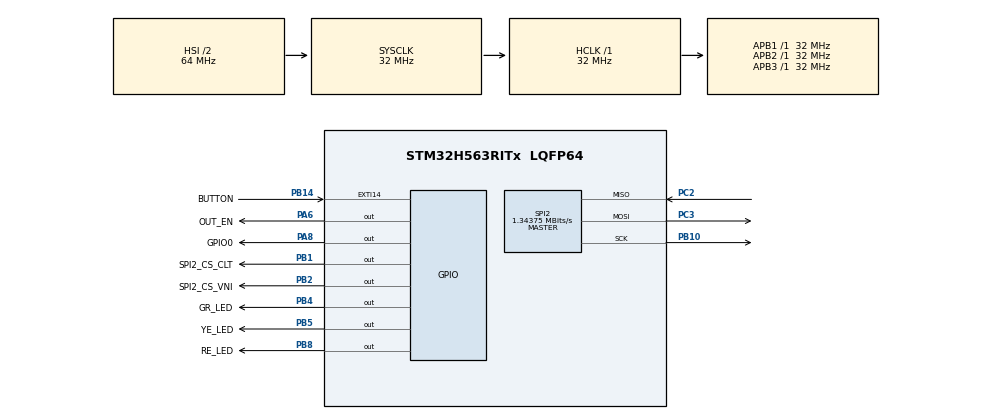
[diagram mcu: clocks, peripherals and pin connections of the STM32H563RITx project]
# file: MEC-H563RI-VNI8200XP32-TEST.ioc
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BOOTPATH.BootPathName=LEGACY
BOOTPATH.UserSelectedBootPath=LEGACY
CORTEX_M33_NS.userName=CORTEX_M33
Mcu.Family=STM32H5
Mcu.Name=STM32H563RITx
Mcu.Package=LQFP64
NVIC.PriorityGroup=NVIC_PRIORITYGROUP_4
PA13(JTMS/SWDIO).Mode=Trace_Asynchronous_SW
PA13(JTMS/SWDIO).Signal=DEBUG_JTMS-SWDIO
PA14(JTCK/SWCLK).Mode=Trace_Asynchronous_SW
PA14(JTCK/SWCLK).Signal=DEBUG_JTCK-SWCLK
PA6.GPIO_Label=OUT_EN
PA6.Signal=GPIO_Output
PA8.GPIO_Label=GPIO0
PA8.Signal=GPIO_Output
PB1.GPIO_Label=SPI2_CS_CLT
PB1.PinState=GPIO_PIN_SET
PB1.Signal=GPIO_Output
PB10.Mode=Full_Duplex_Master
PB10.Signal=SPI2_SCK
PB14.GPIO_Label=BUTTON
PB14.Signal=GPXTI14
PB2.GPIO_Label=SPI2_CS_VNI
PB2.PinState=GPIO_PIN_SET
PB2.Signal=GPIO_Output
PB3(JTDO/TRACESWO).Mode=Trace_Asynchronous_SW
PB3(JTDO/TRACESWO).Signal=DEBUG_JTDO-SWO
PB4(NJTRST).GPIO_Label=GR_LED
PB4(NJTRST).GPIO_ModeDefaultOutputPP=GPIO_MODE_OUTPUT_OD
PB4(NJTRST).GPIO_PuPd=GPIO_NOPULL
PB4(NJTRST).PinState=GPIO_PIN_SET
PB4(NJTRST).Signal=GPIO_Output
PB5.GPIO_Label=YE_LED
PB5.GPIO_ModeDefaultOutputPP=GPIO_MODE_OUTPUT_OD
PB5.GPIO_PuPd=GPIO_NOPULL
PB5.PinState=GPIO_PIN_SET
PB5.Signal=GPIO_Output
PB8.GPIO_Label=RE_LED
PB8.GPIO_ModeDefaultOutputPP=GPIO_MODE_OUTPUT_OD
PB8.GPIO_PuPd=GPIO_NOPULL
PB8.PinState=GPIO_PIN_SET
PB8.Signal=GPIO_Output
PC2.Mode=Full_Duplex_Master
PC2.Signal=SPI2_MISO
PC3.Mode=Full_Duplex_Master
PC3.Signal=SPI2_MOSI
PH0-OSC_IN(PH0).Mode=HSE-External-Oscillator
PH0-OSC_IN(PH0).Signal=RCC_OSC_IN
PH1-OSC_OUT(PH1).Mode=HSE-External-Oscillator
PH1-OSC_OUT(PH1).Signal=RCC_OSC_OUT
ProjectManager.HeapSize=0x200
ProjectManager.StackSize=0x400
ProjectManager.TargetToolchain=STM32CubeIDE
RCC.ADCFreq_Value=32000000
RCC.AHBFreq_Value=32000000
RCC.APB1Freq_Value=32000000
RCC.APB1TimFreq_Value=32000000
RCC.APB2Freq_Value=32000000
RCC.APB2TimFreq_Value=32000000
RCC.APB3Freq_Value=32000000
RCC.CSI_VALUE=4000000
RCC.CortexFreq_Value=32000000
RCC.EPOD_VALUE=4000000
RCC.HCLKFreq_Value=32000000
RCC.HSE_VALUE=25000000
RCC.HSI48_VALUE=48000000
RCC.HSI_VALUE=64000000
RCC.LSE_VALUE=32768
RCC.LSIRC_VALUE=32000
RCC.PLL1Q=6
RCC.SYSCLKFreq_VALUE=32000000
RCC.USBFreq_Value=48000000
RCC.VCOOutputFreq_Value=516000000
SPI2.BaudRatePrescaler=SPI_BAUDRATEPRESCALER_64
SPI2.CalculateBaudRate=1.34375 MBits/s
SPI2.DataSize=SPI_DATASIZE_8BIT
SPI2.Direction=SPI_DIRECTION_2LINES
SPI2.Mode=SPI_MODE_MASTER
SPI2.VirtualType=VM_MASTER
VP_BOOTPATH_VS_BOOTPATH.Mode=BP_Activate
VP_CORTEX_M33_NS_VS_Hclk.Mode=Hclk_Mode
VP_ICACHE_VS_ENABLE_ICACHE_MEMORY.Mode=Memoryregions
VP_ICACHE_VS_ICACHE.Mode=DirectMappedCache
VP_MEMORYMAP_VS_MEMORYMAP.Mode=CurAppReg
VP_PWR_VS_LPOM.Mode=PowerOptimisation
VP_PWR_VS_SECSignals.Mode=Security/Privilege
board=custom

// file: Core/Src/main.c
/* USER CODE BEGIN Header */
/**
  ******************************************************************************
  * @file           : main.c
  * @brief          : Main program body
  ******************************************************************************
  * @attention
  *
  * Copyright (c) 2025 STMicroelectronics.
  * All rights reserved.
  *
  * This software is licensed under terms that can be found in the LICENSE file
  * in the root directory of this software component.
  * If no LICENSE file comes with this software, it is provided AS-IS.
  *
  ******************************************************************************
  */
/* USER CODE END Header */
#include "main.h"

/* USER CODE BEGIN Includes */
#include "string.h"
#include "swo.h"
#include "vni8200xp32.h"
#include "sclt38bt8.h"
/* USER CODE END Includes */

SPI_HandleTypeDef hspi2;

/* USER CODE BEGIN PV */
vni8200xp32_status_t status;

static const char *vni8200xp32_status_str(vni8200xp32_status_t status)
{
    switch (status)
    {
        case VNI8200XP32_OK:          return "OK";
        case VNI8200XP32_E_NULL:      return "E_NULL";
        case VNI8200XP32_E_PARAM:     return "E_PARAM";
        case VNI8200XP32_E_HW:        return "E_HW";
        case VNI8200XP32_E_TIMEOUT:   return "E_TIMEOUT";
        case VNI8200XP32_E_RX_PARITY: return "E_RX_PARITY";
        case VNI8200XP32_E_SPI:       return "E_SPI";
        case VNI8200XP32_E_FB:        return "E_FB";
        case VNI8200XP32_E_TWARN:     return "E_TWARN";
        case VNI8200XP32_E_PG:        return "E_PG";
        case VNI8200XP32_E_OVT:       return "E_OVT";
        default:                      return "UNKNOWN";
    }
}

/* USER CODE END PV */

void SystemClock_Config(void);
static void MX_GPIO_Init(void);
static void MX_ICACHE_Init(void);
static void MX_SPI2_Init(void);

int main(void)
{

  /* USER CODE BEGIN 1 */
	uint8_t p_inputs = 0x00;

  /* USER CODE END 1 */

  /* MCU Configuration--------------------------------------------------------*/

  /* Reset of all peripherals, Initializes the Flash interface and the Systick. */
  HAL_Init();

  /* Configure the system clock */
  SystemClock_Config();

  /* Initialize all configured peripherals */
  MX_GPIO_Init();
  MX_ICACHE_Init();
  MX_SPI2_Init();
  /* USER CODE BEGIN 2 */

  /* Init main*/
  printf("Init main \r\n");

  HAL_GPIO_WritePin(GR_LED_GPIO_Port, GR_LED_Pin, GPIO_PIN_RESET);

  /* USER CODE END 2 */

  /* Infinite loop */
  /* USER CODE BEGIN WHILE */
  while (1)
  {
	status = vni8200xp32_write_outputs(0x00);
	HAL_GPIO_WritePin(GPIO0_GPIO_Port, GPIO0_Pin, GPIO_PIN_RESET);
	printf("Status: %s (%d)\r\n",
		   vni8200xp32_status_str(status),
		   (int)status);
	HAL_Delay(50);

	status = vni8200xp32_write_outputs(0xFF);
	HAL_GPIO_WritePin(GPIO0_GPIO_Port, GPIO0_Pin, GPIO_PIN_SET);
	printf("Status: %s (%d)\r\n",
		   vni8200xp32_status_str(status),
		   (int)status);
	HAL_Delay(50);

	//sclt38bt8_read_inputs(&p_inputs);

    /* USER CODE END WHILE */

  }
}

void SystemClock_Config(void)
{
  RCC_OscInitTypeDef RCC_OscInitStruct = {0};
  RCC_ClkInitTypeDef RCC_ClkInitStruct = {0};

  /** Configure the main internal regulator output voltage
  */
  __HAL_PWR_VOLTAGESCALING_CONFIG(PWR_REGULATOR_VOLTAGE_SCALE3);

  while(!__HAL_PWR_GET_FLAG(PWR_FLAG_VOSRDY)) {}

  /** Initializes the RCC Oscillators according to the specified parameters
  * in the RCC_OscInitTypeDef structure.
  */
  RCC_OscInitStruct.OscillatorType = RCC_OSCILLATORTYPE_HSI|RCC_OSCILLATORTYPE_CSI;
  RCC_OscInitStruct.HSIState = RCC_HSI_ON;
  RCC_OscInitStruct.HSIDiv = RCC_HSI_DIV2;
  RCC_OscInitStruct.HSICalibrationValue = RCC_HSICALIBRATION_DEFAULT;
  RCC_OscInitStruct.CSIState = RCC_CSI_ON;
  RCC_OscInitStruct.CSICalibrationValue = RCC_CSICALIBRATION_DEFAULT;
  RCC_OscInitStruct.PLL.PLLState = RCC_PLL_ON;
  RCC_OscInitStruct.PLL.PLLSource = RCC_PLL1_SOURCE_CSI;
  RCC_OscInitStruct.PLL.PLLM = 1;
  RCC_OscInitStruct.PLL.PLLN = 129;
  RCC_OscInitStruct.PLL.PLLP = 2;
  RCC_OscInitStruct.PLL.PLLQ = 6;
  RCC_OscInitStruct.PLL.PLLR = 2;
  RCC_OscInitStruct.PLL.PLLRGE = RCC_PLL1_VCIRANGE_2;
  RCC_OscInitStruct.PLL.PLLVCOSEL = RCC_PLL1_VCORANGE_WIDE;
  RCC_OscInitStruct.PLL.PLLFRACN = 0;
  if (HAL_RCC_OscConfig(&RCC_OscInitStruct) != HAL_OK)
  {
    Error_Handler();
  }

  /** Initializes the CPU, AHB and APB buses clocks
  */
  RCC_ClkInitStruct.ClockType = RCC_CLOCKTYPE_HCLK|RCC_CLOCKTYPE_SYSCLK
                              |RCC_CLOCKTYPE_PCLK1|RCC_CLOCKTYPE_PCLK2
                              |RCC_CLOCKTYPE_PCLK3;
  RCC_ClkInitStruct.SYSCLKSource = RCC_SYSCLKSOURCE_HSI;
  RCC_ClkInitStruct.AHBCLKDivider = RCC_SYSCLK_DIV1;
  RCC_ClkInitStruct.APB1CLKDivider = RCC_HCLK_DIV1;
  RCC_ClkInitStruct.APB2CLKDivider = RCC_HCLK_DIV1;
  RCC_ClkInitStruct.APB3CLKDivider = RCC_HCLK_DIV1;

  if (HAL_RCC_ClockConfig(&RCC_ClkInitStruct, FLASH_LATENCY_1) != HAL_OK)
  {
    Error_Handler();
  }

  /** Configure the programming delay
  */
  __HAL_FLASH_SET_PROGRAM_DELAY(FLASH_PROGRAMMING_DELAY_0);
}

static void MX_ICACHE_Init(void)
{

  /** Enable instruction cache in 1-way (direct mapped cache)
  */
  if (HAL_ICACHE_ConfigAssociativityMode(ICACHE_1WAY) != HAL_OK)
  {
    Error_Handler();
  }
  if (HAL_ICACHE_Enable() != HAL_OK)
  {
    Error_Handler();
  }

}

static void MX_SPI2_Init(void)
{

  /* SPI2 parameter configuration*/
  hspi2.Instance = SPI2;
  hspi2.Init.Mode = SPI_MODE_MASTER;
  hspi2.Init.Direction = SPI_DIRECTION_2LINES;
  hspi2.Init.DataSize = SPI_DATASIZE_8BIT;
  hspi2.Init.CLKPolarity = SPI_POLARITY_LOW;
  hspi2.Init.CLKPhase = SPI_PHASE_1EDGE;
  hspi2.Init.NSS = SPI_NSS_SOFT;
  hspi2.Init.BaudRatePrescaler = SPI_BAUDRATEPRESCALER_64;
  hspi2.Init.FirstBit = SPI_FIRSTBIT_MSB;
  hspi2.Init.TIMode = SPI_TIMODE_DISABLE;
  hspi2.Init.CRCCalculation = SPI_CRCCALCULATION_DISABLE;
  hspi2.Init.CRCPolynomial = 0x7;
  hspi2.Init.NSSPMode = SPI_NSS_PULSE_ENABLE;
  hspi2.Init.NSSPolarity = SPI_NSS_POLARITY_LOW;
  hspi2.Init.FifoThreshold = SPI_FIFO_THRESHOLD_01DATA;
  hspi2.Init.MasterSSIdleness = SPI_MASTER_SS_IDLENESS_00CYCLE;
  hspi2.Init.MasterInterDataIdleness = SPI_MASTER_INTERDATA_IDLENESS_00CYCLE;
  hspi2.Init.MasterReceiverAutoSusp = SPI_MASTER_RX_AUTOSUSP_DISABLE;
  hspi2.Init.MasterKeepIOState = SPI_MASTER_KEEP_IO_STATE_DISABLE;
  hspi2.Init.IOSwap = SPI_IO_SWAP_DISABLE;
  hspi2.Init.ReadyMasterManagement = SPI_RDY_MASTER_MANAGEMENT_INTERNALLY;
  hspi2.Init.ReadyPolarity = SPI_RDY_POLARITY_HIGH;
  if (HAL_SPI_Init(&hspi2) != HAL_OK)
  {
    Error_Handler();
  }

}

static void MX_GPIO_Init(void)
{
  GPIO_InitTypeDef GPIO_InitStruct = {0};

  /* GPIO Ports Clock Enable */
  __HAL_RCC_GPIOH_CLK_ENABLE();
  __HAL_RCC_GPIOC_CLK_ENABLE();
  __HAL_RCC_GPIOA_CLK_ENABLE();
  __HAL_RCC_GPIOB_CLK_ENABLE();

  /*Configure GPIO pin Output Level */
  HAL_GPIO_WritePin(GPIOA, OUT_EN_Pin|GPIO0_Pin, GPIO_PIN_RESET);

  /*Configure GPIO pin Output Level */
  HAL_GPIO_WritePin(GPIOB, SPI2_CS_CLT_Pin|SPI2_CS_VNI_Pin|GR_LED_Pin|YE_LED_Pin
                          |RE_LED_Pin, GPIO_PIN_SET);

  /*Configure GPIO pins : OUT_EN_Pin GPIO0_Pin */
  GPIO_InitStruct.Pin = OUT_EN_Pin|GPIO0_Pin;
  GPIO_InitStruct.Mode = GPIO_MODE_OUTPUT_PP;
  GPIO_InitStruct.Pull = GPIO_NOPULL;
  GPIO_InitStruct.Speed = GPIO_SPEED_FREQ_LOW;
  HAL_GPIO_Init(GPIOA, &GPIO_InitStruct);

  /*Configure GPIO pins : SPI2_CS_CLT_Pin SPI2_CS_VNI_Pin */
  GPIO_InitStruct.Pin = SPI2_CS_CLT_Pin|SPI2_CS_VNI_Pin;
  GPIO_InitStruct.Mode = GPIO_MODE_OUTPUT_PP;
  GPIO_InitStruct.Pull = GPIO_NOPULL;
  GPIO_InitStruct.Speed = GPIO_SPEED_FREQ_LOW;
  HAL_GPIO_Init(GPIOB, &GPIO_InitStruct);

  /*Configure GPIO pin : BUTTON_Pin */
  GPIO_InitStruct.Pin = BUTTON_Pin;
  GPIO_InitStruct.Mode = GPIO_MODE_IT_RISING;
  GPIO_InitStruct.Pull = GPIO_NOPULL;
  HAL_GPIO_Init(BUTTON_GPIO_Port, &GPIO_InitStruct);

  /*Configure GPIO pins : GR_LED_Pin YE_LED_Pin RE_LED_Pin */
  GPIO_InitStruct.Pin = GR_LED_Pin|YE_LED_Pin|RE_LED_Pin;
  GPIO_InitStruct.Mode = GPIO_MODE_OUTPUT_OD;
  GPIO_InitStruct.Pull = GPIO_NOPULL;
  GPIO_InitStruct.Speed = GPIO_SPEED_FREQ_LOW;
  HAL_GPIO_Init(GPIOB, &GPIO_InitStruct);

}

void Error_Handler(void)
{
  __disable_irq();
  while (1)
  {
  }
}
